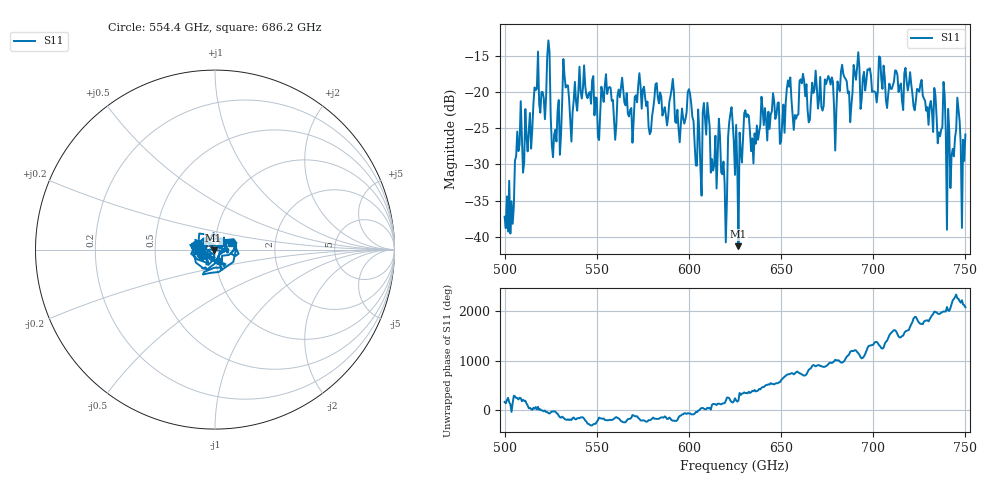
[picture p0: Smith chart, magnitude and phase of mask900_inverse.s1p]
!Created with skrf (http://scikit-rf.org).
# GHz S MA R 50.0
!freq magS11 angS11
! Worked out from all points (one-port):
!   401 points, 500 GHz to 750 GHz, reference 50 ohm
!   lowest |S11| = -41.3 dB at 626.9 GHz (marker M1), VSWR 1.02, Z = 49.2 - j0.294 ohm
!   |S11| at or under -10 dB: start of sweep to end of sweep
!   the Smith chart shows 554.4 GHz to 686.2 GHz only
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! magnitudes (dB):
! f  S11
! 500 GHz  -37.2
! 516.9 GHz  -19.8
! 523.8 GHz  -12.9
! 526.9 GHz  -25.9
! 531.2 GHz  -21.2
! 562.5 GHz  -20.7
! 579.4 GHz  -25.5
! 590.6 GHz  -19.6
! 593.8 GHz  -22.5
! 600.6 GHz  -20.3
! 605.6 GHz  -25.6
! 609.4 GHz  -25.9
! 619.4 GHz  -32.7
! 622.5 GHz  -23.0
! 625 GHz  -31.5
! 626.9 GHz  -41.3
! 631.2 GHz  -23.5
! 635 GHz  -29.9
! 656.2 GHz  -23.2
! 680 GHz  -22.5
! 683.8 GHz  -17.5
! 687.5 GHz  -24.2
! 690.6 GHz  -18.3
! 718.8 GHz  -19.8
! 738.1 GHz  -18.6
! 741.2 GHz  -25.4
! 745.6 GHz  -20.8
! 750 GHz  -25.9
